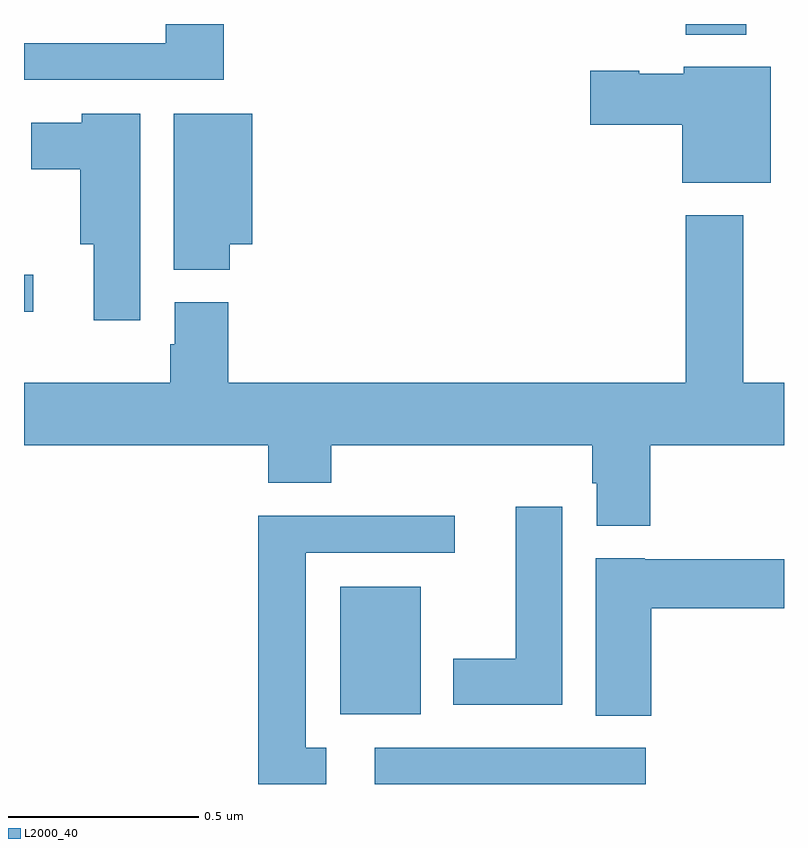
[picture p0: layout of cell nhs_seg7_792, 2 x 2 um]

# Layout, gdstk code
import gdstk
lib = gdstk.Library(unit=1e-6, precision=1e-09)
def R(c, l, rs):  # rectangles x0, y0, x1, y1
    for r in rs: c.add(gdstk.rectangle(r[:2], r[2:], *l))
def P(c, l, *ps):  # polygons
    for p in ps: c.add(gdstk.Polygon(p, *l))
L2000_40 = (2000, 40)

nhs_seg7_792 = lib.new_cell('nhs_seg7_792')
R(nhs_seg7_792, L2000_40, [(121.923,1057,122.636,1057.095), (121.832,1057.184,122.044,1057.519), (121,1058.243,121.024,1058.34), (122.741,1058.972,122.901,1059)])
P(nhs_seg7_792, L2000_40, [(121.526,1059),(121.373,1059),(121.373,1058.949),(121,1058.949),(121,1058.853),(121.526,1058.853)],
  [(122.965,1058.887),(122.736,1058.887),(122.736,1058.869),(122.619,1058.869),(122.619,1058.877),(122.49,1058.877),(122.49,1058.735),(122.732,1058.735),(122.732,1058.582),(122.965,1058.582)],
  [(121.306,1058.764),(121.152,1058.764),(121.152,1058.74),(121.019,1058.74),(121.019,1058.618),(121.148,1058.618),(121.148,1058.42),(121.184,1058.42),(121.184,1058.22),(121.306,1058.22)],
  [(121.541,1058.42),(121.6,1058.42),(121.6,1058.764),(121.394,1058.764),(121.394,1058.353),(121.541,1058.353)],
  [(122.648,1057.892),(123,1057.892),(123,1058.056),(122.893,1058.056),(122.893,1058.497),(122.741,1058.497),(122.741,1058.056),(121.538,1058.056),(121.538,1058.268),(121.397,1058.268),(121.397,1058.157),(121.385,1058.157),(121.385,1058.056),(121,1058.056),(121,1057.892),(121.643,1057.892),(121.643,1057.793),(121.808,1057.793),(121.808,1057.892),(122.495,1057.892),(122.495,1057.791),(122.507,1057.791),(122.507,1057.679),(122.648,1057.679)],
  [(122.416,1057.729),(122.294,1057.729),(122.294,1057.33),(122.129,1057.33),(122.129,1057.208),(122.416,1057.208)],
  [(121.795,1057.096),(121.741,1057.096),(121.741,1057.608),(122.134,1057.608),(122.134,1057.706),(121.616,1057.706),(121.616,1057),(121.795,1057)],
  [(122.651,1057.462),(123,1057.462),(123,1057.591),(122.634,1057.591),(122.634,1057.594),(122.504,1057.594),(122.504,1057.18),(122.651,1057.18)])

lib.write_gds('nhs_seg7_792.gds')
